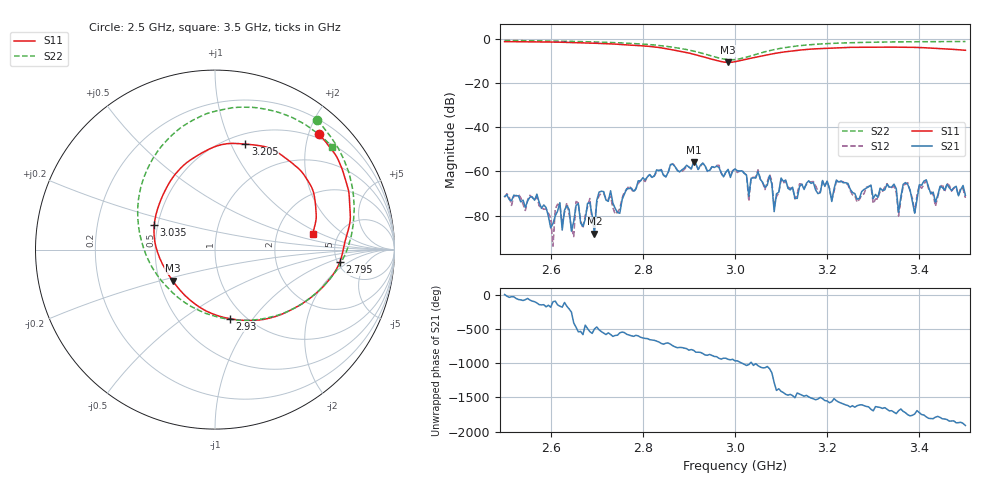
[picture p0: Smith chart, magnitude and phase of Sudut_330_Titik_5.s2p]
# Hz S RI R 50
! CMT, C1220, 16058040, 17.2.0/1
! Date: 15/08/2018 10:28:08
! Data: Format (Calibration Info)
! Freq  S11: Re/Im (F2)  S21: Re/Im (F2)  S12: Re/Im (F2)  S22: Re/Im (F2)
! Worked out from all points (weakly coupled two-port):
!   201 points, 2.5 GHz to 3.5 GHz, reference 50 ohm
!   highest |S21| = -55.91 dB at 2.91 GHz (marker M1); lowest = -88.3 dB at 2.695 GHz (marker M2)
!   lowest |S11| = -10.7 dB at 2.985 GHz (marker M3), VSWR 1.83, Z = 29.3 - j11.1 ohm
!   |S11| at or under -10 dB: 2.964 GHz to 3.008 GHz (44.06 MHz wide, 1.48 % of centre)
!   |S22| runs from -9.5 to -0.7 dB; largest |S21 - S12| = 0.00016
!   S11 on the Smith chart (normalised r, x): 2.5 GHz: 0.43, +2.18; 2.795 GHz: 5.25, -1.41; 2.93 GHz: 0.85, -0.78; 3.035 GHz: 0.48, +0.15; 3.205 GHz: 0.60, +1.13; 3.5 GHz: 3.24, +0.79
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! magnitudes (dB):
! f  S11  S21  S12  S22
! 2.5 GHz  -1.3  -71.3  -71.7  -0.7
! 2.67 GHz  -1.8  -84.8  -85.8  -1.3
! 2.695 GHz  -2.0  -88.3  -83.5  -1.4
! 2.795 GHz  -3.1  -64.3  -64.2  -2.3
! 2.835 GHz  -3.9  -59.6  -59.5  -3.0
! 2.91 GHz  -7.0  -55.9  -55.7  -5.5
! 2.93 GHz  -8.1  -56.3  -56.3  -6.6
! 2.985 GHz  -10.7  -59.1  -59.5  -9.4
! 3 GHz  -10.4  -58.9  -58.9  -9.4
! 3.03 GHz  -9.0  -71.2  -73.4  -8.0
! 3.035 GHz  -8.8  -63.1  -62.8  -7.7
! 3.075 GHz  -7.1  -61.9  -61.4  -5.3
! 3.085 GHz  -6.7  -78.2  -76.0  -4.9
! 3.1 GHz  -6.1  -63.0  -63.8  -4.3
! 3.17 GHz  -4.6  -65.0  -64.6  -2.5
! 3.205 GHz  -4.3  -67.8  -67.7  -2.1
! 3.335 GHz  -3.8  -67.1  -67.5  -1.4
! 3.355 GHz  -3.8  -78.6  -80.1  -1.4
! 3.375 GHz  -3.8  -66.0  -65.2  -1.3
! 3.39 GHz  -3.9  -78.9  -78.8  -1.3
! 3.415 GHz  -4.1  -63.9  -64.0  -1.3
! 3.5 GHz  -5.2  -70.9  -71.9  -1.2
